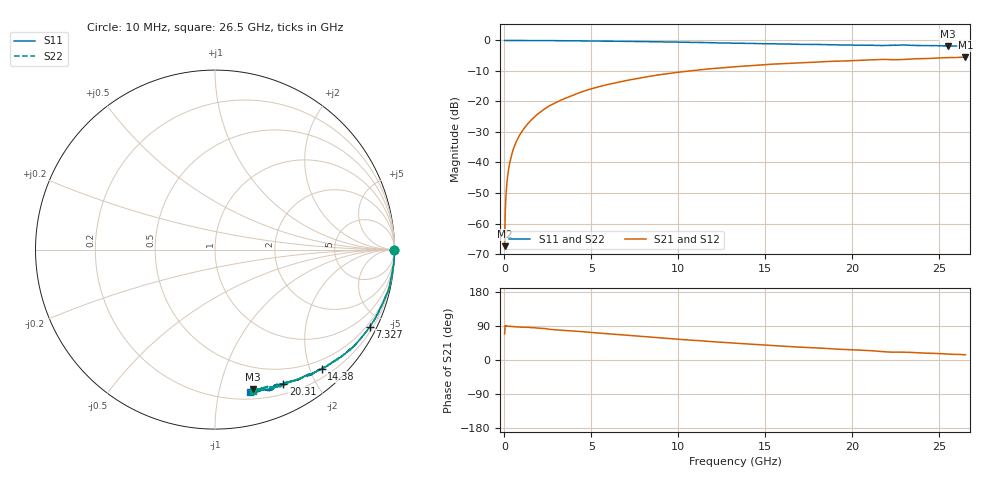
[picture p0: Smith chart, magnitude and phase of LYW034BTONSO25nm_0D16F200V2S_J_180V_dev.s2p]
!Keysight Technologies,N5222B,MY61253708,A.15.00.15
!Date: Wednesday, June 19, 2024 10:30:06
!Correction: S11(C  2-Port  )
!S21(C  2-Port  )
!S12(C  2-Port  )
!S22(C  2-Port  )
!S2P File: Measurements: S11, S21, S12, S22:
# Hz S  RI  R 50
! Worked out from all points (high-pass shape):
!   2651 points, 10 MHz to 26.5 GHz, reference 50 ohm
!   highest |S21| = -5.46 dB at 26.5 GHz (marker M1); lowest = -67.4 dB at 10 MHz (marker M2)
!   |S21| within 3 dB of the highest: 13.63324 GHz to 13.67297 GHz (39.73 MHz wide, 0.291 % of centre); 13.69 GHz to end of sweep
!   lowest |S11| = -1.9 dB at 25.5 GHz (marker M3), VSWR 9.31, Z = 14.3 - j63.4 ohm
!   |S11| at or under -10 dB: nowhere
!   |S22| runs from -1.8 to 0.0 dB; largest |S21 - S12| = 0.0066
!   S11 on the Smith chart (normalised r, x): 10 MHz: open; 7.327 GHz: 0.35, -4.24; 14.38 GHz: 0.34, -2.19; 20.31 GHz: 0.32, -1.59; 26.5 GHz: 0.26, -1.24
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1e7  0.9983 -0.00331  0.000154 0.000396  1.97e-05 0.000443  0.9983 -0.00179
6.997736e7  1 -0.00509  2.89e-05 0.00226  4.59e-05 0.00225  0.9997 -0.00468
1.699396e8  0.9999 -0.0115  5.84e-05 0.0055  5.58e-05 0.00552  0.9997 -0.0107
2.199208e8  0.9999 -0.0147  9.75e-05 0.00714  9.24e-05 0.00713  0.9994 -0.0138
2.798981e8  0.9999 -0.0188  0.000182 0.00906  0.000155 0.00906  0.9999 -0.0178
3.898566e8  0.9995 -0.0263  0.000308 0.0126  0.000323 0.0126  0.9995 -0.0252
5.198075e8  0.9989 -0.034  0.000615 0.0168  0.000531 0.0168  0.9989 -0.0331
8.696755e8  0.998 -0.0569  0.00153 0.0279  0.00153 0.028  0.9972 -0.0557
1.469449e9  0.9911 -0.0972  0.00356 0.0476  0.00359 0.0476  0.9937 -0.0925
2.329125e9  0.9825 -0.149  0.0094 0.0759  0.00951 0.0761  0.9839 -0.1486
3.208792e9  0.9722 -0.2042  0.0201 0.1017  0.0202 0.1019  0.9731 -0.2021
4.428332e9  0.9448 -0.2763  0.0367 0.1386  0.0368 0.139  0.9471 -0.2721
5.767826e9  0.9103 -0.3477  0.0636 0.1735  0.0643 0.1739  0.9135 -0.3454
7.327238e9  0.8636 -0.4285  0.0995 0.2069  0.1004 0.207  0.8661 -0.4256
8.846664e9  0.8098 -0.4972  0.1399 0.2333  0.1408 0.2334  0.8127 -0.4933
1.3255e10  0.6373 -0.6393  0.2646 0.2596  0.2662 0.259  0.6437 -0.6356
1.438457e10  0.5948 -0.6652  0.2935 0.2564  0.2948 0.2562  0.6013 -0.6589
1.767333e10  0.4671 -0.7218  0.3703 0.2346  0.373 0.2328  0.4809 -0.7172
2.031234e10  0.3816 -0.7463  0.4214 0.209  0.424 0.2054  0.3989 -0.745
2.209166e10  0.3318 -0.7577  0.4539 0.175  0.4552 0.1721  0.3298 -0.7627
2.550038e10  0.2119 -0.7776  0.504 0.1395  0.5051 0.1392  0.2365 -0.7795
2.65e10  0.1925 -0.7923  0.5177 0.1287  0.5166 0.1248  0.21 -0.79
